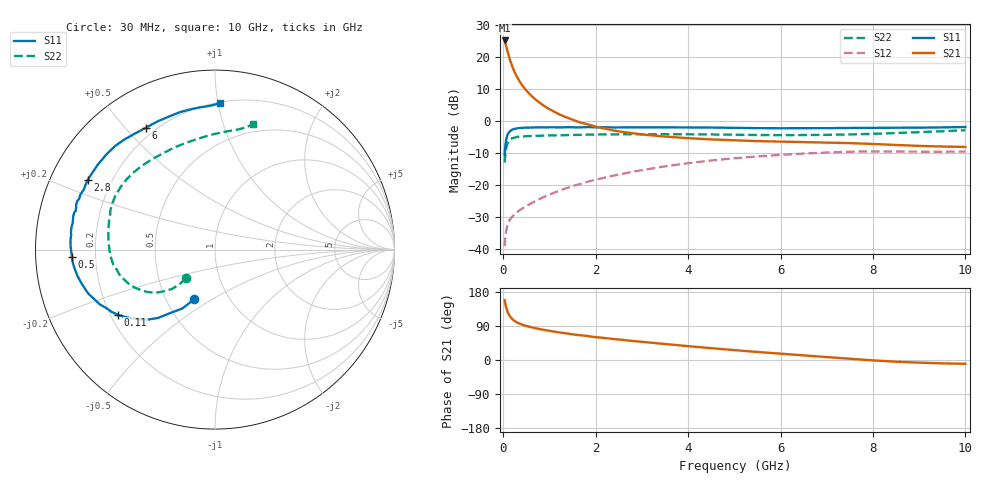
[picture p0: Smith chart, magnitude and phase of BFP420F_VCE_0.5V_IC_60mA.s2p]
! Infineon Technologies  Discrete & RF Semiconductors
! BFP420F
! VCE =  0.5 V,  IC =  60 mA
! Common Emitter S-Parameters:  Sep 2011
# GHz  S  MA  R  50
!  f  S11  S21  S12  S22
! GHz  MAG  ANG  MAG  ANG  MAG  ANG  MAG  ANG
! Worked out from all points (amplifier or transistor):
!   54 points, 30 MHz to 10 GHz, reference 50 ohm
!   highest |S21| = 25.3 dB at 30 MHz (marker M1)
!   |S21| within 3 dB of that: start of sweep to 86.29 MHz
!   unconditionally stable (mu >= 1): start of sweep to 114.7 MHz; 245.1 MHz to end of sweep
!   at 120 MHz: K = 0.99, MSG = 26.0 dB, |S12| = -31.4 dB
!   at 1.3 GHz: K = 1.52, MAG = 7.2 dB, |S12| = -21.2 dB
!   at 10 GHz: K = 1.24, MAG = -2.2 dB, |S12| = -9.4 dB
!   S11 on the Smith chart (normalised r, x): 30 MHz: 0.69, -0.42; 110 MHz: 0.23, -0.29; 500 MHz: 0.11, -0.02; 2.8 GHz: 0.11, +0.25; 6 GHz: 0.16, +0.57; 10 GHz: 0.21, +1.01
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0.03  0.2997 -112.6  18.44 157.8  0.0112 63.5  0.2274 -135.3
0.04  0.3759 -119.1  17.5 151.3  0.0139 61.2  0.28 -135.8
0.06  0.4957 -129.8  15.51 140.6  0.0185 56.0  0.3632 -140.4
0.08  0.5743 -137.6  13.61 132.2  0.0221 52.5  0.422 -145.5
0.1  0.6335 -144.0  12 125.6  0.0248 49.2  0.4638 -150.4
0.11  0.6516 -146.2  11.3 123.1  0.0259 48.1  0.4786 -152.5
0.13  0.6823 -150.9  10.03 118.2  0.0278 46.2  0.5029 -156.1
0.15  0.7088 -154.3  9.007 114.6  0.0294 44.9  0.52 -159.0
0.2  0.7471 -160.8  7.119 107.5  0.0328 43.4  0.5484 -164.6
0.25  0.7654 -165.3  5.83 102.8  0.0354 43.0  0.5589 -168.5
0.35  0.7866 -171.4  4.275 96.1  0.0405 44.2  0.5774 -173.7
0.5  0.7981 -177.1  3.045 89.8  0.0475 46.8  0.5867 -179.1
0.7  0.8059 177.9  2.198 83.8  0.057 50.0  0.5936 176.0
0.9  0.8055 174.3  1.717 79.2  0.0668 52.1  0.5994 172.1
1.7  0.8082 163.3  0.95 65.0  0.1071 53.9  0.6162 161.2
2.8  0.8081 151.3  0.654 50.2  0.1634 49.2  0.6314 151.7
3.5  0.8066 144.2  0.579 42.2  0.1983 44.5  0.631 146.1
5.5  0.785 124.4  0.492 21.2  0.2831 27.0  0.6131 124.5
6  0.7807 119.4  0.483 16.7  0.2998 22.5  0.6097 118.1
7  0.7847 108.8  0.466 7.7  0.3263 13.2  0.6166 105.2
8.5  0.7969 96.0  0.428 -4.5  0.3386 0.1  0.6581 85.5
10  0.8171 88.1  0.399 -10.0  0.3374 -6.8  0.7279 73.3
